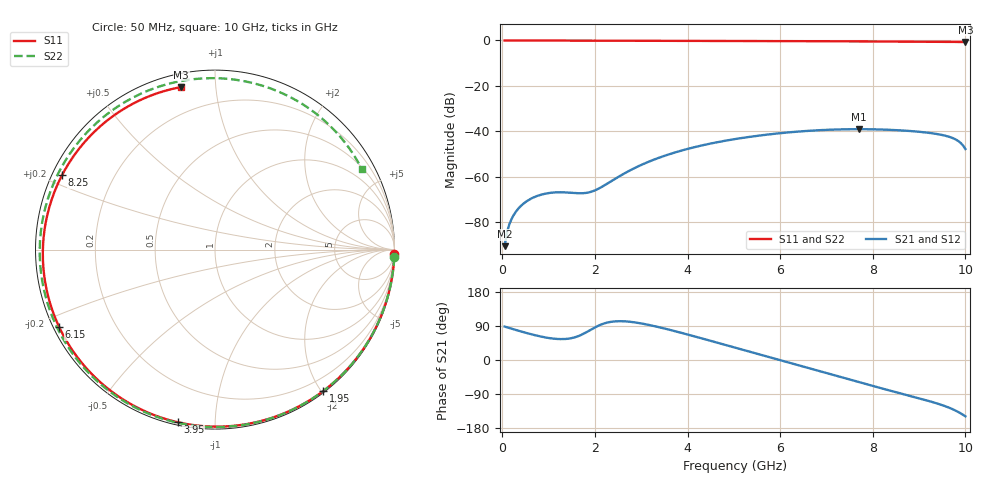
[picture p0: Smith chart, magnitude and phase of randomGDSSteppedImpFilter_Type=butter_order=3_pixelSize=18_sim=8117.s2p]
! freq	dB(S11)	phase(S11)	dB(S12)	phase(S12)
!  dB(S21)	phase(S21)	dB(S22)	phase(S22)
!S-par simulation data
#  GHz  S  DB  R 50
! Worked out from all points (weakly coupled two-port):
!   200 points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, 50 MHz to 10 GHz, reference 50 ohm
!   highest |S21| = -39.00 dB at 7.7 GHz (marker M1); lowest = -90.4 dB at 50 MHz (marker M2)
!   lowest |S11| = -0.7 dB at 10 GHz (marker M3), VSWR 25.61, Z = 3.24 + j40.6 ohm
!   |S11| at or under -10 dB: nowhere
!   |S22| runs from -0.6 to 0.0 dB; largest |S21 - S12| = 0
!   S11 on the Smith chart (normalised r, x): 50 MHz: 0, -82; 1.95 GHz: 0.02, -2.02; 3.95 GHz: 0.01, -0.81; 6.15 GHz: 0.02, -0.23; 8.25 GHz: 0.03, +0.23; 10 GHz: 0.06, +0.81
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0.05  -0.00 -1.4  -90.44 88.2  -90.44 88.2  -0.00 -2.4
0.15  -0.01 -4.2  -80.95 84.5  -80.95 84.5  -0.01 -7.2
0.4  -0.02 -11.0  -72.78 75.5  -72.78 75.5  -0.02 -18.9
0.75  -0.03 -20.6  -68.39 64.2  -68.39 64.2  -0.04 -35.1
1.25  -0.04 -34.1  -66.73 55.2  -66.73 55.2  -0.07 -57.3
1.75  -0.06 -47.3  -67.14 69.0  -67.14 69.0  -0.09 -78.1
1.95  -0.07 -52.6  -66.31 82.6  -66.31 82.6  -0.10 -85.9
2.6  -0.09 -69.2  -58.87 102.3  -58.87 102.3  -0.12 -109.8
3.4  -0.12 -89.0  -51.45 86.1  -51.45 86.1  -0.15 -136.2
3.95  -0.14 -102.3  -47.96 68.9  -47.96 68.9  -0.17 -152.9
4.5  -0.17 -115.2  -45.32 50.6  -45.32 50.6  -0.19 -168.9
5.05  -0.20 -128.1  -43.27 31.9  -43.27 31.9  -0.21 175.7
5.6  -0.23 -140.8  -41.69 13.2  -41.69 13.2  -0.24 160.5
6.15  -0.27 -153.7  -40.48 -5.6  -40.48 -5.6  -0.27 145.2
6.7  -0.31 -166.7  -39.62 -24.5  -39.62 -24.5  -0.31 129.8
7.7  -0.41 168.4  -39.00 -58.5  -39.00 -58.5  -0.37 100.6
8.25  -0.47 153.9  -39.20 -76.7  -39.20 -76.7  -0.41 84.0
8.35  -0.48 151.2  -39.28 -79.9  -39.28 -79.9  -0.42 80.9
8.95  -0.55 134.2  -40.05 -99.4  -40.05 -99.4  -0.48 62.1
9.55  -0.62 116.1  -41.80 -121.3  -41.80 -121.3  -0.54 43.0
9.85  -0.66 106.6  -44.27 -137.4  -44.27 -137.4  -0.58 33.4
10  -0.68 101.7  -47.74 -148.7  -47.74 -148.7  -0.60 28.7
